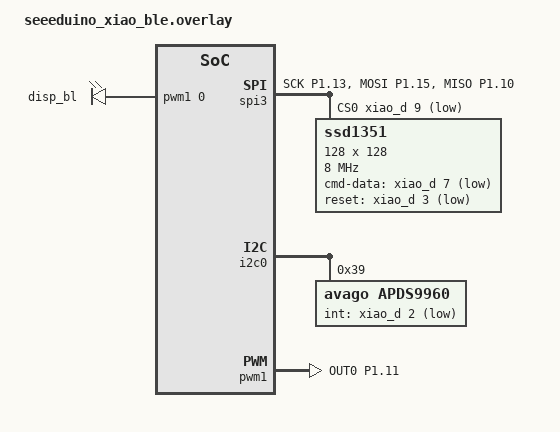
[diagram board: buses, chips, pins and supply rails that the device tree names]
/ {
   pwmleds {
      compatible = "pwm-leds";
      disp_bl: pwm_led_1 {
          pwms = <&pwm1 0 PWM_MSEC(1) PWM_POLARITY_NORMAL>;
      };
  };
};

&spi2 {
   status = "disabled";
};

&pinctrl {
   spi3_default: spi3_default {
		group1 {
			psels = <NRF_PSEL(SPIM_SCK, 1, 13)>,
				<NRF_PSEL(SPIM_MOSI, 1, 15)>,
				<NRF_PSEL(SPIM_MISO, 1, 10)>;
		};
	};

	spi3_sleep: spi3_sleep {
		group1 {
			psels = <NRF_PSEL(SPIM_SCK, 1, 13)>,
				<NRF_PSEL(SPIM_MOSI, 1, 15)>,
				<NRF_PSEL(SPIM_MISO, 1, 10)>;
			low-power-enable;
		};
	};

   pwm1_default: pwm1_default {
      group1 {
         psels = <NRF_PSEL(PWM_OUT0, 1, 11)>;
         nordic,invert;
      };
   };

   pwm1_sleep: pwm1_sleep {
      group1 {
         psels = <NRF_PSEL(PWM_OUT0, 1, 11)>;
         low-power-enable;
      };
   };
};

disp_spi: &spi3 {
   status = "okay";
   pinctrl-0 = <&spi3_default>;
	pinctrl-1 = <&spi3_sleep>;
	pinctrl-names = "default", "sleep";
   cs-gpios = <&xiao_d 9 GPIO_ACTIVE_LOW>;

   ssd1351: ssd1351@0 {
       compatible = "zmk,ssd1351";
       spi-max-frequency = <8000000>;
       reg = <0>;
       cmd-data-gpios = <&xiao_d 7 GPIO_ACTIVE_LOW>;
       reset-gpios = <&xiao_d 3 GPIO_ACTIVE_LOW>;
       width = <128>;
       height = <128>;
       x-offset = <0>;
       y-offset = <0>;
   };
};

&i2c0 {
   status = "okay";

   apds9960: apds9960@39 {
       compatible = "avago,apds9960";
       status = "okay";
       reg = <0x39>;
       int-gpios = <&xiao_d 2 (GPIO_ACTIVE_LOW | GPIO_PULL_UP)>;
   };
};

&pwm1 {
  status = "okay";
  pinctrl-0 = <&pwm1_default>;
  pinctrl-1 = <&pwm1_sleep>;
  pinctrl-names = "default", "sleep";
};

